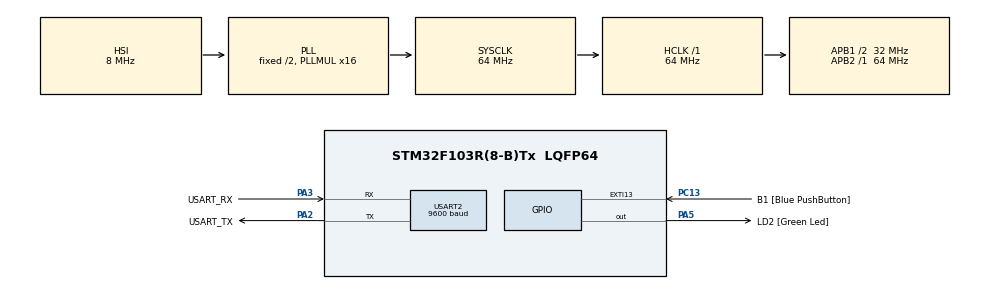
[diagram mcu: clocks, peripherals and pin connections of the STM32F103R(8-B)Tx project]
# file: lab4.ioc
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Mcu.Family=STM32F1
Mcu.Name=STM32F103R(8-B)Tx
Mcu.Package=LQFP64
NVIC.EXTI15_10_IRQn=true\:0\:0\:false\:false\:true\:true\:true
NVIC.PriorityGroup=NVIC_PRIORITYGROUP_4
PA13.GPIO_Label=TMS
PA13.Mode=Serial_Wire
PA13.Signal=SYS_JTMS-SWDIO
PA14.GPIO_Label=TCK
PA14.Mode=Serial_Wire
PA14.Signal=SYS_JTCK-SWCLK
PA2.GPIO_Label=USART_TX
PA2.GPIO_Mode=GPIO_MODE_AF_PP
PA2.GPIO_PuPd=GPIO_NOPULL
PA2.GPIO_Speed=GPIO_SPEED_FREQ_LOW
PA2.Mode=Asynchronous
PA2.Signal=USART2_TX
PA3.GPIO_Label=USART_RX
PA3.GPIO_Mode=GPIO_MODE_AF_PP
PA3.GPIO_PuPd=GPIO_NOPULL
PA3.GPIO_Speed=GPIO_SPEED_FREQ_LOW
PA3.Mode=Asynchronous
PA3.Signal=USART2_RX
PA5.GPIO_Label=LD2 [Green Led]
PA5.GPIO_ModeDefaultOutputPP=GPIO_MODE_OUTPUT_PP
PA5.GPIO_PuPd=GPIO_NOPULL
PA5.GPIO_Speed=GPIO_SPEED_FREQ_LOW
PA5.Signal=GPIO_Output
PB3.GPIO_Label=SWO
PB3.Signal=SYS_JTDO-TRACESWO
PC13-TAMPER-RTC.GPIO_Label=B1 [Blue PushButton]
PC13-TAMPER-RTC.GPIO_PuPd=GPIO_NOPULL
PC13-TAMPER-RTC.Signal=GPXTI13
PC14-OSC32_IN.Mode=LSE-External-Oscillator
PC14-OSC32_IN.Signal=RCC_OSC32_IN
PC15-OSC32_OUT.Mode=LSE-External-Oscillator
PC15-OSC32_OUT.Signal=RCC_OSC32_OUT
PD0-OSC_IN.Mode=HSE-External-Clock-Source
PD0-OSC_IN.Signal=RCC_OSC_IN
PD1-OSC_OUT.Mode=HSE-External-Clock-Source
PD1-OSC_OUT.Signal=RCC_OSC_OUT
ProjectManager.HeapSize=0x200
ProjectManager.StackSize=0x400
ProjectManager.TargetToolchain=STM32CubeIDE
RCC.AHBFreq_Value=64000000
RCC.APB1CLKDivider=RCC_HCLK_DIV2
RCC.APB1Freq_Value=32000000
RCC.APB1TimFreq_Value=64000000
RCC.APB2Freq_Value=64000000
RCC.APB2TimFreq_Value=64000000
RCC.HCLKFreq_Value=64000000
RCC.PLLMUL=RCC_PLL_MUL16
RCC.RTCClockSelection=RCC_RTCCLKSOURCE_LSE
RCC.SYSCLKFreq_VALUE=64000000
RCC.SYSCLKSource=RCC_SYSCLKSOURCE_PLLCLK
RCC.USBFreq_Value=64000000
TIM4.CounterMode=TIM_COUNTERMODE_DOWN
USART2.BaudRate=9600
USART2.VirtualMode=VM_ASYNC
VP_TIM4_VS_ClockSourceINT.Mode=Internal
board=NUCLEO-F103RB

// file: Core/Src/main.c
/* USER CODE BEGIN Header */
/**
  ******************************************************************************
  * @file           : main.c
  * @brief          : Main program body
  ******************************************************************************
  * @attention
  *
  * <h2><center>&copy; Copyright (c) 2020 STMicroelectronics.
  * All rights reserved.</center></h2>
  *
  * This software component is licensed by ST under BSD 3-Clause license,
  * the "License"; You may not use this file except in compliance with the
  * License. You may obtain a copy of the License at:
  *                        opensource.org/licenses/BSD-3-Clause
  *
  ******************************************************************************
  */
/* USER CODE END Header */
#include "main.h"
#include <stdio.h>
#include <stdlib.h>

TIM_HandleTypeDef htim4;

UART_HandleTypeDef huart2;

void SystemClock_Config(void);
static void MX_GPIO_Init(void);
static void MX_USART2_UART_Init(void);
static void MX_TIM4_Init(void);

int main(void)
{

  /* MCU Configuration--------------------------------------------------------*/

  /* Reset of all peripherals, Initializes the Flash interface and the Systick. */
  HAL_Init();

  /* Configure the system clock */
  SystemClock_Config();

  /* Initialize all configured peripherals */
  MX_GPIO_Init();
  MX_USART2_UART_Init();
  MX_TIM4_Init();
  /* USER CODE BEGIN 2 */
  HAL_TIM_Base_Start(&htim4);
    int16_t i;

    //int8_t i,j;
    //uint8_t k;
    //i=250;j=7;k=i-j;

    uint8_t *p;
    uint8_t cliBufferTX[200];
    uint8_t cliBufferRX[1024];

    strcpy((char*)cliBufferTX, "Testing CLI!\r\n");
    HAL_UART_Transmit(&huart2, cliBufferTX, strlen((char*)cliBufferTX),1000);

  /* USER CODE END 2 */

  /* Infinite loop */
  /* USER CODE BEGIN WHILE */
  while (1)
  {
	   i=0;
	   while(i<=10)
	      {
	   	   if((HAL_UART_Receive(&huart2,cliBufferRX, 1,300) == HAL_OK))
	    	 	  {
	   		     cliBufferTX[i] = cliBufferRX[0];
	   		     if( cliBufferTX[i]=='\r')
	   		         break;
	   		     else if( cliBufferTX[i]=='\177')
	   		    	 {
	   		    		p=&cliBufferTX[i];
	   		    		HAL_UART_Transmit(&huart2,p,1,1000);
	   		    		i--;
	   		    		if(i<0)i=0;
	   	             }

	   	        else
	   	        {
	   	        	p=&cliBufferTX[i];
	   	        	HAL_UART_Transmit(&huart2,p,1,1000);
	   	        	i++;
	   	        }
	    	 	 }
	       }

	      cliBufferTX[i]='\0';
	   	  cliBufferRX[0]='\r';
	   	  cliBufferRX[1]='\n';

	   	  HAL_UART_Transmit(&huart2,cliBufferRX,2,1000);

	   	  if(strcmp(cliBufferTX,"turn")==0)
	   	    	  {  HAL_GPIO_TogglePin(GPIOA, GPIO_PIN_5);}

	   	  else if (strcmp(cliBufferTX,"query")==0)
	   	      			  {
	   	      		  	  	  if(HAL_GPIO_ReadPin(GPIOA, GPIO_PIN_5) == 1)
	   	      		  	  	  {
	   	      		  	  		strcpy((char *)cliBufferTX, "LED on\r\n");
	   	      		  	  		HAL_UART_Transmit(&huart2, cliBufferTX, strlen((char *) cliBufferTX), 1000) ;
	   	      		  	  	  }
	   	      		  	  	  else
	   	      		  	  	  {
	   	      		  	  		strcpy((char *)cliBufferTX, "LED off\r\n");
	   	      		  	  		HAL_UART_Transmit(&huart2, cliBufferTX, strlen((char *) cliBufferTX), 1000) ;
	   	      		  	  	  }
	   	      			  }

	   	   else if (strcmp(cliBufferTX,"help")==0)
	   	      	  	  	  {
	   	      		  	  	  strcpy(( char*)cliBufferTX, " enter 'turn' to open and close LED\r\n enter 'query' to see the state of LED\r\n enter 'measure' to measure a number of basic arithmetic operations\r\n enter 'help' to get help\r\n");
	   	      		  	  	  HAL_UART_Transmit(&huart2, cliBufferTX, strlen((char*)cliBufferTX),1000);
	   	      	  	  	  }

	   	   else if (strcmp(cliBufferTX,"measure")==0)
	   	      {
	   		        int32_t a_32,b_32;
	   		        int64_t a_64,b_64;
	   		        int16_t previous;
	   		        uint32_t tick1 = 0,tick2 = 0,tick3 = 0,tick4 = 0,tick5 = 0,tick6 = 0;
	   		        for (i = 0; i < 100; i++)
	   		          {
	   		            a_32 = rand();                                                               //generate the random values
	   		            b_32 = rand();
	   		            a_64 = rand();
	   		            b_64 = rand();

	   		            previous = timer_start();
	   		            a_32+b_32;																	// add two random 32-bit integers
	   		            tick1 = tick1 + timer_stop(previous);

	   		            previous = timer_start();
	   		            a_64+b_64;																	//add two random 64-bit integers
	   		            tick2 = tick2 + timer_stop(previous);

	   		            previous = timer_start();
	   		            a_32*b_32;																	//multiply two random 32-bit integers
	   		            tick3 = tick3 + timer_stop(previous);

	   		            previous = timer_start();
	   		            a_64*b_64;																	//multiply two random 64-bit integers
	   		            tick4 = tick4 + timer_stop(previous);

	   		            previous = timer_start();
	   		            while(!b_32)b_32 = rand();													 //make sure  don't divide by zero.
	   		            a_32/b_32;																	//divide two random 32-bit integers
	   		            tick5 = tick5 + timer_stop(previous);

	   		            previous = timer_start();
	   		            while(!b_64)b_64 = rand();
	   		            a_64/b_64;																	//divide two random 64-bit integers
	   		            tick6 = tick6 + timer_stop(previous);

	   		          }

	   		        tick1 = tick1/100;
	   		        tick2 = tick2/100;
	   		        tick3 = tick3/100;
	   		        tick4 = tick4/100;
	   		        tick5 = tick5/100;
	   		        tick6 = tick6/100;

	   		        strcpy((char*)cliBufferTX, "add two random 32-bit integers: ");                    //prints the results on the screen.
	   		        HAL_UART_Transmit(&huart2, cliBufferTX, strlen((char*)cliBufferTX),1000);
	   		        tickasc(tick1);                                                                    //Converts tick to ASCII

	   		        strcpy((char*)cliBufferTX, "add two random 64-bit integers: ");
	   		        HAL_UART_Transmit(&huart2, cliBufferTX, strlen((char*)cliBufferTX),1000);
	   		        tickasc(tick2);

	   		        strcpy((char*)cliBufferTX, "multiply two random 32-bit integers: ");
	   		        HAL_UART_Transmit(&huart2, cliBufferTX, strlen((char*)cliBufferTX),1000);
	   		        tickasc(tick3);

	   		        strcpy((char*)cliBufferTX, "multiply two random 64-bit integers: ");
	   		        HAL_UART_Transmit(&huart2, cliBufferTX, strlen((char*)cliBufferTX),1000);
	   		        tickasc(tick4);

	   		        strcpy((char*)cliBufferTX, "divide two random 32-bit integers: ");
	   		        HAL_UART_Transmit(&huart2, cliBufferTX, strlen((char*)cliBufferTX),1000);
	   		        tickasc(tick5);

	   		        strcpy((char*)cliBufferTX, "divide two random 64-bit integers: ");
	   		        HAL_UART_Transmit(&huart2, cliBufferTX, strlen((char*)cliBufferTX),1000);
	   		        tickasc(tick6);

	   		        tick1 = 0;															//copy an 8-byte struct using the assignment operator
	   		        previous = timer_start();
	   		        for (i = 0; i < 8; i++)
	   		           {
	   		        	cliBufferRX[i] = i;
	   		           }
	   		        tick1 = tick1 + timer_stop(previous);

	   		        tick2 = 0;															//copy a 128-byte struct using the assignment operator
	   		        previous = timer_start();
	   		        for (i = 0; i < 128; i++)
	   		           {
	   		        	cliBufferRX[i] = i;
	   		           }
	   		        tick2 = tick2 + timer_stop(previous);

	   		        tick3 = 0;															//copy a 1024-byte struct using the assignment operator
	   		        previous = timer_start();
	   		        for (i = 0; i <1024; i++)
	   		           {
	   		        	cliBufferRX[i] = i;
	   		           }
	   		        tick3 = tick3 + timer_stop(previous);

	   		        strcpy((char*)cliBufferTX, "copy an 8-byte struct using the assignment operator: ");
	   		        HAL_UART_Transmit(&huart2, cliBufferTX, strlen((char*)cliBufferTX),1000);
	   		        tickasc(tick1);

	   		        strcpy((char*)cliBufferTX, "copy an 128-byte struct using the assignment operator: ");
	   		        HAL_UART_Transmit(&huart2, cliBufferTX, strlen((char*)cliBufferTX),1000);
	   		        tickasc(tick2);

	   		        strcpy((char*)cliBufferTX, "copy an 1024-byte struct using the assignment operator: ");
	   		        HAL_UART_Transmit(&huart2, cliBufferTX, strlen((char*)cliBufferTX),1000);
	   		        tickasc(tick3);
	   	      }
	   	         else
	   	      	  	  	  { strcpy(( char*)cliBufferTX, "error\r\n");
	   	      	  	        HAL_UART_Transmit(&huart2, cliBufferTX, strlen((char*)cliBufferTX),1000);
	   	      	  	  	  }

	   }

    /* USER CODE END WHILE */

}

void SystemClock_Config(void)
{
  RCC_OscInitTypeDef RCC_OscInitStruct = {0};
  RCC_ClkInitTypeDef RCC_ClkInitStruct = {0};

  /** Initializes the RCC Oscillators according to the specified parameters
  * in the RCC_OscInitTypeDef structure.
  */
  RCC_OscInitStruct.OscillatorType = RCC_OSCILLATORTYPE_HSI;
  RCC_OscInitStruct.HSIState = RCC_HSI_ON;
  RCC_OscInitStruct.HSICalibrationValue = RCC_HSICALIBRATION_DEFAULT;
  RCC_OscInitStruct.PLL.PLLState = RCC_PLL_ON;
  RCC_OscInitStruct.PLL.PLLSource = RCC_PLLSOURCE_HSI_DIV2;
  RCC_OscInitStruct.PLL.PLLMUL = RCC_PLL_MUL16;
  if (HAL_RCC_OscConfig(&RCC_OscInitStruct) != HAL_OK)
  {
    Error_Handler();
  }
  /** Initializes the CPU, AHB and APB buses clocks
  */
  RCC_ClkInitStruct.ClockType = RCC_CLOCKTYPE_HCLK|RCC_CLOCKTYPE_SYSCLK
                              |RCC_CLOCKTYPE_PCLK1|RCC_CLOCKTYPE_PCLK2;
  RCC_ClkInitStruct.SYSCLKSource = RCC_SYSCLKSOURCE_PLLCLK;
  RCC_ClkInitStruct.AHBCLKDivider = RCC_SYSCLK_DIV1;
  RCC_ClkInitStruct.APB1CLKDivider = RCC_HCLK_DIV2;
  RCC_ClkInitStruct.APB2CLKDivider = RCC_HCLK_DIV1;

  if (HAL_RCC_ClockConfig(&RCC_ClkInitStruct, FLASH_LATENCY_2) != HAL_OK)
  {
    Error_Handler();
  }
}

static void MX_TIM4_Init(void)
{

  TIM_ClockConfigTypeDef sClockSourceConfig = {0};
  TIM_MasterConfigTypeDef sMasterConfig = {0};

  htim4.Instance = TIM4;
  htim4.Init.Prescaler = 0;
  htim4.Init.CounterMode = TIM_COUNTERMODE_DOWN;
  htim4.Init.Period = 65535;
  htim4.Init.ClockDivision = TIM_CLOCKDIVISION_DIV1;
  htim4.Init.AutoReloadPreload = TIM_AUTORELOAD_PRELOAD_DISABLE;
  if (HAL_TIM_Base_Init(&htim4) != HAL_OK)
  {
    Error_Handler();
  }
  sClockSourceConfig.ClockSource = TIM_CLOCKSOURCE_INTERNAL;
  if (HAL_TIM_ConfigClockSource(&htim4, &sClockSourceConfig) != HAL_OK)
  {
    Error_Handler();
  }
  sMasterConfig.MasterOutputTrigger = TIM_TRGO_RESET;
  sMasterConfig.MasterSlaveMode = TIM_MASTERSLAVEMODE_DISABLE;
  if (HAL_TIMEx_MasterConfigSynchronization(&htim4, &sMasterConfig) != HAL_OK)
  {
    Error_Handler();
  }

}

static void MX_USART2_UART_Init(void)
{

  huart2.Instance = USART2;
  huart2.Init.BaudRate = 9600;
  huart2.Init.WordLength = UART_WORDLENGTH_8B;
  huart2.Init.StopBits = UART_STOPBITS_1;
  huart2.Init.Parity = UART_PARITY_NONE;
  huart2.Init.Mode = UART_MODE_TX_RX;
  huart2.Init.HwFlowCtl = UART_HWCONTROL_NONE;
  huart2.Init.OverSampling = UART_OVERSAMPLING_16;
  if (HAL_UART_Init(&huart2) != HAL_OK)
  {
    Error_Handler();
  }

}

static void MX_GPIO_Init(void)
{
  GPIO_InitTypeDef GPIO_InitStruct = {0};

  /* GPIO Ports Clock Enable */
  __HAL_RCC_GPIOC_CLK_ENABLE();
  __HAL_RCC_GPIOD_CLK_ENABLE();
  __HAL_RCC_GPIOA_CLK_ENABLE();
  __HAL_RCC_GPIOB_CLK_ENABLE();

  /*Configure GPIO pin Output Level */
  HAL_GPIO_WritePin(LD2_GPIO_Port, LD2_Pin, GPIO_PIN_RESET);

  /*Configure GPIO pin : B1_Pin */
  GPIO_InitStruct.Pin = B1_Pin;
  GPIO_InitStruct.Mode = GPIO_MODE_IT_RISING;
  GPIO_InitStruct.Pull = GPIO_NOPULL;
  HAL_GPIO_Init(B1_GPIO_Port, &GPIO_InitStruct);

  /*Configure GPIO pin : LD2_Pin */
  GPIO_InitStruct.Pin = LD2_Pin;
  GPIO_InitStruct.Mode = GPIO_MODE_OUTPUT_PP;
  GPIO_InitStruct.Pull = GPIO_NOPULL;
  GPIO_InitStruct.Speed = GPIO_SPEED_FREQ_LOW;
  HAL_GPIO_Init(LD2_GPIO_Port, &GPIO_InitStruct);

  /* EXTI interrupt init*/
  HAL_NVIC_SetPriority(EXTI15_10_IRQn, 0, 0);
  HAL_NVIC_EnableIRQ(EXTI15_10_IRQn);

}

void Error_Handler(void)
{
}

/************************ (C) COPYRIGHT STMicroelectronics *****END OF FILE****/
